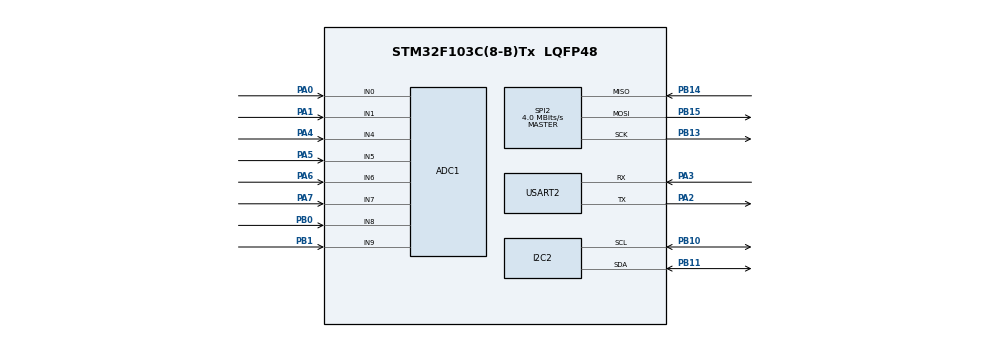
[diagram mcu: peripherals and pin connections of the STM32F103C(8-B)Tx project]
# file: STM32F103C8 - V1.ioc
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ADC1.Channel-2\#ChannelRegularConversion=ADC_CHANNEL_4
ADC1.NbrOfConversionFlag=1
ADC1.Rank-2\#ChannelRegularConversion=1
ADC1.SamplingTime-2\#ChannelRegularConversion=ADC_SAMPLETIME_1CYCLE_5
ADC1.master=1
I2C2.I2C_Mode=I2C_Fast
Mcu.Family=STM32F1
Mcu.Name=STM32F103C(8-B)Tx
Mcu.Package=LQFP48
NVIC.PriorityGroup=NVIC_PRIORITYGROUP_2
PA0-WKUP.Signal=ADCx_IN0
PA1.Signal=ADCx_IN1
PA2.Mode=Asynchronous
PA2.Signal=USART2_TX
PA3.Mode=Asynchronous
PA3.Signal=USART2_RX
PA4.Signal=ADCx_IN4
PA5.Signal=ADCx_IN5
PA6.Signal=ADCx_IN6
PA7.Signal=ADCx_IN7
PB0.Signal=ADCx_IN8
PB1.Signal=ADCx_IN9
PB10.Mode=I2C
PB10.Signal=I2C2_SCL
PB11.Mode=I2C
PB11.Signal=I2C2_SDA
PB13.Mode=Full_Duplex_Master
PB13.Signal=SPI2_SCK
PB14.Mode=Full_Duplex_Master
PB14.Signal=SPI2_MISO
PB15.Mode=Full_Duplex_Master
PB15.Signal=SPI2_MOSI
PD0-OSC_IN.Mode=HSE-External-Oscillator
PD0-OSC_IN.Signal=RCC_OSC_IN
PD1-OSC_OUT.Mode=HSE-External-Oscillator
PD1-OSC_OUT.Signal=RCC_OSC_OUT
ProjectManager.HeapSize=0x200
ProjectManager.StackSize=0x400
ProjectManager.TargetToolchain=SW4STM32
RCC.APB1Freq_Value=8000000
RCC.APB2Freq_Value=8000000
SH.ADCx_IN0.0=ADC1_IN0,IN0
SH.ADCx_IN1.0=ADC1_IN1,IN1
SH.ADCx_IN4.0=ADC1_IN4,IN4
SH.ADCx_IN5.0=ADC1_IN5,IN5
SH.ADCx_IN6.0=ADC1_IN6,IN6
SH.ADCx_IN7.0=ADC1_IN7,IN7
SH.ADCx_IN8.0=ADC1_IN8,IN8
SH.ADCx_IN9.0=ADC1_IN9,IN9
SPI2.CalculateBaudRate=4.0 MBits/s
SPI2.Direction=SPI_DIRECTION_2LINES
SPI2.Mode=SPI_MODE_MASTER
SPI2.VirtualType=VM_MASTER
USART2.VirtualMode=VM_ASYNC
VP_SYS_VS_ND.Mode=No_Debug
board=custom

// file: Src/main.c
/* USER CODE BEGIN Header */
/**
  ******************************************************************************
  * @file           : main.c
  * @brief          : Main program body
  ******************************************************************************
  * @attention
  *
  * <h2><center>&copy; Copyright (c) 2019 STMicroelectronics.
  * All rights reserved.</center></h2>
  *
  * This software component is licensed by ST under BSD 3-Clause license,
  * the "License"; You may not use this file except in compliance with the
  * License. You may obtain a copy of the License at:
  *                        opensource.org/licenses/BSD-3-Clause
  *
  ******************************************************************************
  */
/* USER CODE END Header */

#include "main.h"

ADC_HandleTypeDef hadc1;

I2C_HandleTypeDef hi2c2;

SPI_HandleTypeDef hspi2;

UART_HandleTypeDef huart2;

/* USER CODE BEGIN PV */
uint8_t data;
uint8_t buf1[3];
uint8_t buf2[3];
uint8_t buflen;
bool BUF1_FLAG = FALSE;
bool BUF2_FLAG = TRUE;
/* USER CODE END PV */

void SystemClock_Config(void);
void GPIO_Init(void);
static void MX_GPIO_Init(void);
static void MX_ADC1_Init(void);
static void MX_I2C2_Init(void);
static void MX_SPI2_Init(void);
static void MX_USART2_UART_Init(void);

/* USER CODE BEGIN PFP */
uint8_t byte = 0;
/* USER CODE END PFP */

int main(void)
{

  /* MCU Configuration--------------------------------------------------------*/

  /* Reset of all peripherals, Initializes the Flash interface and the Systick. */
  HAL_Init();

  /* Configure the system clock */
  SystemClock_Config();

  /* Initialize all configured peripherals */

  GPIO_Init();
  MX_ADC1_Init();
  MX_I2C2_Init();
  MX_SPI2_Init();
  MX_USART2_UART_Init();

  /* USER CODE BEGIN 2 */

  HAL_UART_Receive_IT(&huart2, &byte, 1);

  while (1)
  {

  }
}

/**
  * @brief UART interrupt handler
  * @retval None
  */
void USART2_IRQHandler(void)
{
	HAL_UART_IRQHandler(&huart2);
}

/* This callback is called by the HAL_UART_IRQHandler when the given number of bytes are received */
void HAL_UART_RxCpltCallback(UART_HandleTypeDef *huart)
{
	if (huart->Instance == USART2)
	{
		if(data & 128) //check if new data block is received
		{
			if((BUF1_FLAG != 1) && (BUF2_FLAG == 1)) //write new data to buf1 and send buf2 to MIDI_CONT
			{
				MIDI_CONT(buf2, buflen);
				BUF1_FLAG = TRUE;
				BUF2_FLAG = FALSE;
				buflen = 0;
				buf1[buflen++] = data;
			}

			if((BUF1_FLAG == 1) && (BUF2_FLAG != 1)) //write new data to buf2 and send buf1 to MIDI_CONT
			{
				MIDI_CONT(buf1, buflen);
				BUF1_FLAG = FALSE;
				BUF2_FLAG = TRUE;
				buflen = 0;
				buf2[buflen++] = data;
			}
		}

		else
		{
			if((BUF1_FLAG != 1) && (BUF2_FLAG == 1)) //write data to buf2
				buf2[buflen++] = data;

			else if((BUF1_FLAG == 1) && (BUF2_FLAG != 1)) //write data to buf1
				buf1[buflen++] = data;
		}
	}
}

void SystemClock_Config(void)
{
  RCC_OscInitTypeDef RCC_OscInitStruct = {0};
  RCC_ClkInitTypeDef RCC_ClkInitStruct = {0};
  RCC_PeriphCLKInitTypeDef PeriphClkInit = {0};

  /** Initializes the CPU, AHB and APB busses clocks
  */
  RCC_OscInitStruct.OscillatorType = RCC_OSCILLATORTYPE_HSI;
  RCC_OscInitStruct.HSIState = RCC_HSI_ON;
  RCC_OscInitStruct.HSICalibrationValue = RCC_HSICALIBRATION_DEFAULT;
  RCC_OscInitStruct.PLL.PLLState = RCC_PLL_NONE;
  if (HAL_RCC_OscConfig(&RCC_OscInitStruct) != HAL_OK)
  {
    Error_Handler();
  }
  /** Initializes the CPU, AHB and APB busses clocks
  */
  RCC_ClkInitStruct.ClockType = RCC_CLOCKTYPE_HCLK|RCC_CLOCKTYPE_SYSCLK
                              |RCC_CLOCKTYPE_PCLK1|RCC_CLOCKTYPE_PCLK2;
  RCC_ClkInitStruct.SYSCLKSource = RCC_SYSCLKSOURCE_HSI;
  RCC_ClkInitStruct.AHBCLKDivider = RCC_SYSCLK_DIV1;
  RCC_ClkInitStruct.APB1CLKDivider = RCC_HCLK_DIV1;
  RCC_ClkInitStruct.APB2CLKDivider = RCC_HCLK_DIV1;

  if (HAL_RCC_ClockConfig(&RCC_ClkInitStruct, FLASH_LATENCY_0) != HAL_OK)
  {
    Error_Handler();
  }
  PeriphClkInit.PeriphClockSelection = RCC_PERIPHCLK_ADC;
  PeriphClkInit.AdcClockSelection = RCC_ADCPCLK2_DIV2;
  if (HAL_RCCEx_PeriphCLKConfig(&PeriphClkInit) != HAL_OK)
  {
    Error_Handler();
  }
}

static void MX_ADC1_Init(void)
{

  /* USER CODE BEGIN ADC1_Init 0 */
  // hadc1 struct voor oproepen ADC
  /* USER CODE END ADC1_Init 0 */

  ADC_ChannelConfTypeDef sConfig = {0};

  /** Common config
  */
  hadc1.Instance = ADC1;
  hadc1.Init.ScanConvMode = ADC_SCAN_DISABLE;
  hadc1.Init.ContinuousConvMode = DISABLE;
  hadc1.Init.DiscontinuousConvMode = DISABLE;
  hadc1.Init.ExternalTrigConv = ADC_SOFTWARE_START;
  hadc1.Init.DataAlign = ADC_DATAALIGN_RIGHT;
  hadc1.Init.NbrOfConversion = 1;
  if (HAL_ADC_Init(&hadc1) != HAL_OK)
  {
    Error_Handler();
  }
  /** Configure Regular Channel
  */
  sConfig.Channel = ADC_CHANNEL_4;
  sConfig.Rank = ADC_REGULAR_RANK_1;
  sConfig.SamplingTime = ADC_SAMPLETIME_1CYCLE_5;
  if (HAL_ADC_ConfigChannel(&hadc1, &sConfig) != HAL_OK)
  {
    Error_Handler();
  }

}

static void MX_I2C2_Init(void)
{

  hi2c2.Instance = I2C2;
  hi2c2.Init.ClockSpeed = 400000;
  hi2c2.Init.DutyCycle = I2C_DUTYCYCLE_2;
  hi2c2.Init.OwnAddress1 = 0;
  hi2c2.Init.AddressingMode = I2C_ADDRESSINGMODE_7BIT;
  hi2c2.Init.DualAddressMode = I2C_DUALADDRESS_DISABLE;
  hi2c2.Init.OwnAddress2 = 0;
  hi2c2.Init.GeneralCallMode = I2C_GENERALCALL_DISABLE;
  hi2c2.Init.NoStretchMode = I2C_NOSTRETCH_DISABLE;
  if (HAL_I2C_Init(&hi2c2) != HAL_OK)
  {
    Error_Handler();
  }

}

static void MX_SPI2_Init(void)
{

  /* SPI2 parameter configuration*/
  hspi2.Instance = SPI2;
  hspi2.Init.Mode = SPI_MODE_MASTER;
  hspi2.Init.Direction = SPI_DIRECTION_2LINES;
  hspi2.Init.DataSize = SPI_DATASIZE_8BIT;
  hspi2.Init.CLKPolarity = SPI_POLARITY_LOW;
  hspi2.Init.CLKPhase = SPI_PHASE_1EDGE;
  hspi2.Init.NSS = SPI_NSS_SOFT;
  hspi2.Init.BaudRatePrescaler = SPI_BAUDRATEPRESCALER_2;
  hspi2.Init.FirstBit = SPI_FIRSTBIT_MSB;
  hspi2.Init.TIMode = SPI_TIMODE_DISABLE;
  hspi2.Init.CRCCalculation = SPI_CRCCALCULATION_DISABLE;
  hspi2.Init.CRCPolynomial = 10;
  if (HAL_SPI_Init(&hspi2) != HAL_OK)
  {
    Error_Handler();
  }

}

static void MX_USART2_UART_Init(void)
{

  huart2.Instance = USART2;
  huart2.Init.BaudRate = 32500; //Baudrate of MIDI messages is 32500 baud
  huart2.Init.WordLength = UART_WORDLENGTH_8B; //Wordlenght is 8b
  huart2.Init.StopBits = UART_STOPBITS_1; //There will be one stopbit
  huart2.Init.Parity = UART_PARITY_NONE; //There is no paritybit
  huart2.Init.Mode = UART_MODE_TX_RX; //Use RX for receiving MIDI and TX for sending messages to serial monitor via Arduino
  huart2.Init.HwFlowCtl = UART_HWCONTROL_NONE;
  huart2.Init.OverSampling = UART_OVERSAMPLING_16;
  if (HAL_UART_Init(&huart2) != HAL_OK)
  {
    Error_Handler();
  }

  HAL_NVIC_SetPriority(USART2_IRQn, 0, 0);
  HAL_NVIC_EnableIRQ(USART2_IRQn);
}

static void MX_GPIO_Init(void)
{

  /* GPIO Ports Clock Enable */
  __HAL_RCC_GPIOA_CLK_ENABLE();
  __HAL_RCC_GPIOB_CLK_ENABLE();
  __HAL_RCC_GPIOC_CLK_ENABLE();
  __HAL_RCC_GPIOD_CLK_ENABLE();
}

/* USER CODE BEGIN 4 */
void GPIO_Init()
{
	MX_GPIO_Init();
	GPIO_InitTypeDef GPIO_InitStruct = {0};

	// ADC1_IN0
	GPIO_InitStruct.Pin = GPIO_PIN_0;
	GPIO_InitStruct.Mode = GPIO_MODE_ANALOG;
	GPIO_InitStruct.Pull = GPIO_NOPULL;
	HAL_GPIO_Init(GPIOA, &GPIO_InitStruct);

	// ADC1_IN1
	GPIO_InitStruct.Pin = GPIO_PIN_1;
	GPIO_InitStruct.Mode = GPIO_MODE_ANALOG;
	GPIO_InitStruct.Pull = GPIO_NOPULL;
	HAL_GPIO_Init(GPIOA, &GPIO_InitStruct);

	// ADC1_IN4
	GPIO_InitStruct.Pin = GPIO_PIN_4;
	GPIO_InitStruct.Mode = GPIO_MODE_ANALOG;
	GPIO_InitStruct.Pull = GPIO_NOPULL;
	HAL_GPIO_Init(GPIOA, &GPIO_InitStruct);

	// ADC1_IN5
	GPIO_InitStruct.Pin = GPIO_PIN_5;
	GPIO_InitStruct.Mode = GPIO_MODE_ANALOG;
	GPIO_InitStruct.Pull = GPIO_NOPULL;
	HAL_GPIO_Init(GPIOA, &GPIO_InitStruct);

	// ADC1_IN6
	GPIO_InitStruct.Pin = GPIO_PIN_6;
	GPIO_InitStruct.Mode = GPIO_MODE_ANALOG;
	GPIO_InitStruct.Pull = GPIO_NOPULL;
	HAL_GPIO_Init(GPIOA, &GPIO_InitStruct);

	// ADC1_IN7
	GPIO_InitStruct.Pin = GPIO_PIN_7;
	GPIO_InitStruct.Mode = GPIO_MODE_ANALOG;
	GPIO_InitStruct.Pull = GPIO_NOPULL;
	HAL_GPIO_Init(GPIOA, &GPIO_InitStruct);

	// ADC1_IN8
	GPIO_InitStruct.Pin = GPIO_PIN_0;
	GPIO_InitStruct.Mode = GPIO_MODE_ANALOG;
	GPIO_InitStruct.Pull = GPIO_NOPULL;
	HAL_GPIO_Init(GPIOB, &GPIO_InitStruct);

	// ADC1_IN9
	GPIO_InitStruct.Pin = GPIO_PIN_1;
	GPIO_InitStruct.Mode = GPIO_MODE_ANALOG;
	GPIO_InitStruct.Pull = GPIO_NOPULL;
	HAL_GPIO_Init(GPIOB, &GPIO_InitStruct);

	//I2C_CLOCK
	GPIO_InitStruct.Pin = GPIO_PIN_10;
	GPIO_InitStruct.Mode = GPIO_MODE_AF_OD;
	GPIO_InitStruct.Speed = GPIO_SPEED_FREQ_HIGH;
	GPIO_InitStruct.Pull = GPIO_NOPULL;
	HAL_GPIO_Init(GPIOB, &GPIO_InitStruct);

	//I2C_DATA
	GPIO_InitStruct.Pin = GPIO_PIN_11;
	GPIO_InitStruct.Mode = GPIO_MODE_AF_OD;
	GPIO_InitStruct.Speed = GPIO_SPEED_FREQ_HIGH;
	GPIO_InitStruct.Pull = GPIO_NOPULL;
	HAL_GPIO_Init(GPIOB, &GPIO_InitStruct);

	//SPI
	GPIO_InitStruct.Pin = GPIO_PIN_15 || GPIO_PIN_14 || GPIO_PIN_13;
	GPIO_InitStruct.Mode = GPIO_MODE_AF_PP;
	GPIO_InitStruct.Speed = GPIO_SPEED_FREQ_HIGH;
	GPIO_InitStruct.Pull = GPIO_NOPULL;
	HAL_GPIO_Init(GPIOB, &GPIO_InitStruct);

	//YM3812 PINS PART 1
	GPIO_InitStruct.Pin = GPIO_PIN_2|| GPIO_PIN_3|| GPIO_PIN_4|| GPIO_PIN_5|| GPIO_PIN_6|| GPIO_PIN_7|| GPIO_PIN_8||GPIO_PIN_9||GPIO_PIN_12;
	GPIO_InitStruct.Mode = GPIO_MODE_OUTPUT_PP;
	GPIO_InitStruct.Speed = GPIO_SPEED_FREQ_LOW;
	GPIO_InitStruct.Pull = GPIO_PULLDOWN;
	HAL_GPIO_Init(GPIOB, &GPIO_InitStruct);

	//YM3812 PINS PART 2
	GPIO_InitStruct.Pin = GPIO_PIN_8||GPIO_PIN_9||GPIO_PIN_10||GPIO_PIN_11|| GPIO_PIN_12|| GPIO_PIN_13|| GPIO_PIN_14||GPIO_PIN_15;
	GPIO_InitStruct.Mode = GPIO_MODE_OUTPUT_PP;
	GPIO_InitStruct.Speed = GPIO_SPEED_FREQ_LOW;
	GPIO_InitStruct.Pull = GPIO_PULLDOWN;
	HAL_GPIO_Init(GPIOA, &GPIO_InitStruct);

	//LED PIN
	GPIO_InitStruct.Pin = GPIO_PIN_13;
	GPIO_InitStruct.Mode = GPIO_MODE_OUTPUT_PP;
	GPIO_InitStruct.Speed = GPIO_SPEED_FREQ_LOW;
	GPIO_InitStruct.Pull = GPIO_PULLDOWN;
	HAL_GPIO_Init(GPIOC, &GPIO_InitStruct);
}
/* USER CODE END 4 */

void Error_Handler(void)
{
}

/************************ (C) COPYRIGHT STMicroelectronics *****END OF FILE****/
